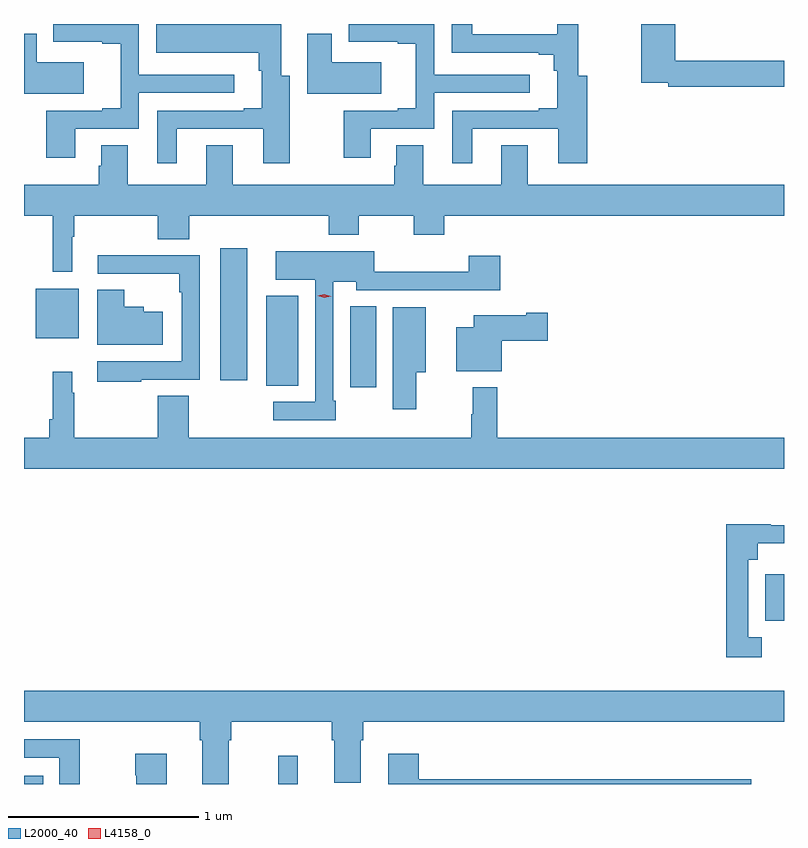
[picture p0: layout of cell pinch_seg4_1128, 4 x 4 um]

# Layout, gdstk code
import gdstk
lib = gdstk.Library(unit=1e-6, precision=1e-09)
def R(c, l, rs):  # rectangles x0, y0, x1, y1
    for r in rs: c.add(gdstk.rectangle(r[:2], r[2:], *l))
def P(c, l, *ps):  # polygons
    for p in ps: c.add(gdstk.Polygon(p, *l))
L2000_40 = (2000, 40)
L4158_0 = (4158, 0)

pinch_seg4_1128 = lib.new_cell('pinch_seg4_1128')
R(pinch_seg4_1128, L2000_40, [(472.444,787.169,472.544,787.213), (473.782,787.169,473.885,787.318), (476.345,788.027,476.444,788.272), (474.161,789.258,474.298,789.683), (473.72,789.265,473.887,789.739), (473.477,789.294,473.62,789.988), (472.505,789.515,472.732,789.775)])
P(pinch_seg4_1128, L2000_40, [(474.802,790.617),(475.256,790.617),(475.256,790.437),(475.409,790.437),(475.409,790.897),(475.361,790.897),(475.361,791.169),(475.25,791.169),(475.25,791.116),(474.802,791.116),(474.802,791.169),(474.695,791.169),(474.695,791.019),(475.154,791.019),(475.154,791.007),(475.233,791.007),(475.233,790.922),(475.25,790.922),(475.25,790.726),(475.154,790.726),(475.154,790.713),(474.698,790.713),(474.698,790.437),(474.802,790.437)],
  [(473.248,790.617),(473.702,790.617),(473.702,790.437),(473.842,790.437),(473.842,790.897),(473.797,790.897),(473.797,791.169),(473.141,791.169),(473.141,791.018),(473.679,791.018),(473.679,790.922),(473.696,790.922),(473.696,790.726),(473.6,790.726),(473.6,790.713),(473.144,790.713),(473.144,790.437),(473.248,790.437)],
  [(474.268,790.617),(474.603,790.617),(474.603,790.806),(475.105,790.806),(475.105,790.902),(474.603,790.902),(474.603,791.169),(474.153,791.169),(474.153,791.076),(474.41,791.076),(474.41,791.064),(474.506,791.064),(474.506,790.726),(474.41,790.726),(474.41,790.713),(474.128,790.713),(474.128,790.464),(474.268,790.464)],
  [(472.714,790.617),(473.049,790.617),(473.049,790.806),(473.551,790.806),(473.551,790.902),(473.049,790.902),(473.049,791.169),(472.599,791.169),(472.599,791.076),(472.856,791.076),(472.856,791.064),(472.952,791.064),(472.952,790.726),(472.856,790.726),(472.856,790.713),(472.562,790.713),(472.562,790.464),(472.714,790.464)],
  [(476.444,790.976),(475.871,790.976),(475.871,791.169),(475.693,791.169),(475.693,790.86),(475.834,790.86),(475.834,790.84),(476.444,790.84)],
  [(472.759,790.969),(472.51,790.969),(472.51,791.119),(472.444,791.119),(472.444,790.802),(472.759,790.802)],
  [(474.325,790.969),(474.064,790.969),(474.064,791.119),(473.936,791.119),(473.936,790.802),(474.325,790.802)],
  [(472.99,790.532),(472.85,790.532),(472.85,790.422),(472.838,790.422),(472.838,790.324),(472.444,790.324),(472.444,790.16),(472.595,790.16),(472.595,789.864),(472.699,789.864),(472.699,790.048),(472.709,790.048),(472.709,790.16),(473.149,790.16),(473.149,790.036),(473.315,790.036),(473.315,790.16),(474.047,790.16),(474.047,790.061),(474.207,790.061),(474.207,790.16),(474.496,790.16),(474.496,790.061),(474.656,790.061),(474.656,790.16),(476.444,790.16),(476.444,790.324),(475.096,790.324),(475.096,790.532),(474.956,790.532),(474.956,790.324),(474.544,790.324),(474.544,790.532),(474.404,790.532),(474.404,790.422),(474.392,790.422),(474.392,790.324),(473.542,790.324),(473.542,790.532),(473.402,790.532),(473.402,790.324),(472.99,790.324)],
  [(474.085,789.187),(474.072,789.187),(474.072,789.812),(474.192,789.812),(474.192,789.768),(474.701,789.768),(474.701,789.767),(474.95,789.767),(474.95,789.949),(474.785,789.949),(474.785,789.866),(474.288,789.866),(474.288,789.973),(473.769,789.973),(473.769,789.824),(473.976,789.824),(473.976,789.18),(473.757,789.18),(473.757,789.084),(474.085,789.084)],
  [(473.06,789.297),(473.37,789.297),(473.37,789.951),(473.06,789.951),(473.06,789.953),(472.833,789.953),(472.833,789.855),(473.073,789.855),(473.073,789.854),(473.262,789.854),(473.262,789.758),(473.274,789.758),(473.274,789.393),(472.83,789.393),(472.83,789.285),(473.06,789.285)],
  [(473.173,789.655),(473.073,789.655),(473.073,789.682),(472.971,789.682),(472.971,789.77),(472.829,789.77),(472.829,789.482),(473.173,789.482)],
  [(474.508,789.335),(474.559,789.335),(474.559,789.679),(474.386,789.679),(474.386,789.141),(474.508,789.141)],
  [(474.958,789.503),(475.201,789.503),(475.201,789.65),(475.088,789.65),(475.088,789.637),(474.812,789.637),(474.812,789.574),(474.719,789.574),(474.719,789.341),(474.958,789.341)],
  [(476.444,788.992),(474.935,788.992),(474.935,789.256),(474.807,789.256),(474.807,789.116),(474.799,789.116),(474.799,788.992),(473.31,788.992),(473.31,789.212),(473.149,789.212),(473.149,788.992),(472.709,788.992),(472.709,789.227),(472.699,789.227),(472.699,789.34),(472.595,789.34),(472.595,789.088),(472.578,789.088),(472.578,788.992),(472.444,788.992),(472.444,788.828),(476.444,788.828)],
  [(476.326,787.941),(476.256,787.941),(476.256,788.348),(476.306,788.348),(476.306,788.435),(476.444,788.435),(476.444,788.532),(476.375,788.532),(476.375,788.537),(476.139,788.537),(476.139,788.214),(476.14,788.214),(476.14,787.836),(476.326,787.836)],
  [(473.521,787.4),(473.534,787.4),(473.534,787.496),(474.065,787.496),(474.065,787.4),(474.077,787.4),(474.077,787.176),(474.217,787.176),(474.217,787.4),(474.23,787.4),(474.23,787.496),(476.444,787.496),(476.444,787.66),(472.444,787.66),(472.444,787.496),(473.369,787.496),(473.369,787.4),(473.381,787.4),(473.381,787.169),(473.521,787.169)],
  [(472.738,787.404),(472.444,787.404),(472.444,787.308),(472.629,787.308),(472.629,787.169),(472.738,787.169)],
  [(473.194,787.327),(473.029,787.327),(473.029,787.214),(473.036,787.214),(473.036,787.169),(473.194,787.169)],
  [(476.272,787.195),(474.521,787.195),(474.521,787.327),(474.362,787.327),(474.362,787.169),(476.272,787.169)])
P(pinch_seg4_1128, L4158_0, [(474.025,789.728),(473.99,789.738),(473.99,789.738),(473.99,789.738),(474.025,789.747),(474.059,789.737),(474.06,789.737),(474.059,789.737)])

lib.write_gds('pinch_seg4_1128.gds')
